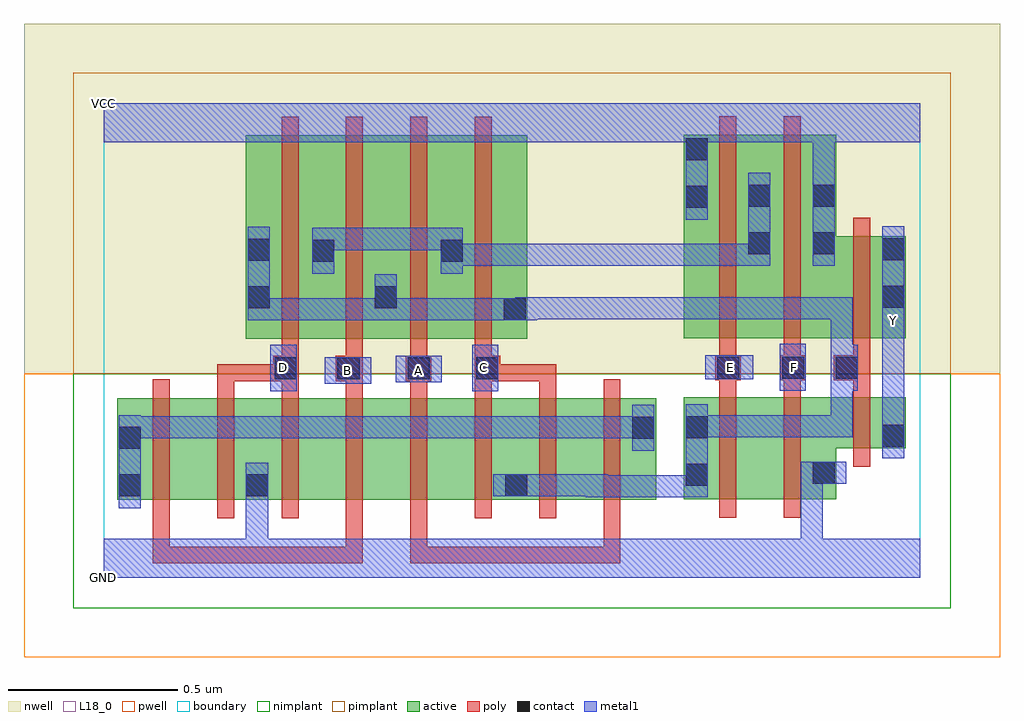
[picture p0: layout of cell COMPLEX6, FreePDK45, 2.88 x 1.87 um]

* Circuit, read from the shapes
.subckt COMPLEX6 A B C D E F GND VCC Y
M1 n1 B n2 VSUBS nfet w=0.3u l=0.05u
M2 GND D n1 VSUBS nfet w=0.3u l=0.05u
M3 n3 D GND VSUBS nfet w=0.3u l=0.05u
M4 n4 B n3 VSUBS nfet w=0.3u l=0.05u
M5 n5 A n4 VSUBS nfet w=0.3u l=0.05u
M6 n6 C n5 VSUBS nfet w=0.3u l=0.05u
M7 n7 C n6 VSUBS nfet w=0.3u l=0.05u
M8 n2 A n7 VSUBS nfet w=0.3u l=0.05u
M9 n8 E n6 VSUBS nfet w=0.3u l=0.05u
M10 GND F n8 VSUBS nfet w=0.3u l=0.05u
M11 Y n6 GND VSUBS nfet w=0.15u l=0.05u
M12 n9 D n6 n10 pfet w=0.6u l=0.05u
M13 n6 B n9 n10 pfet w=0.6u l=0.05u
M14 n9 A n6 n10 pfet w=0.6u l=0.05u
M15 n6 C n9 n10 pfet w=0.6u l=0.05u
M16 n9 E VCC n10 pfet w=0.6u l=0.05u
M17 VCC F n9 n10 pfet w=0.6u l=0.05u
M18 Y n6 VCC n10 pfet w=0.3u l=0.05u
.ends

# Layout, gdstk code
import gdstk
lib = gdstk.Library(unit=1e-6, precision=1e-09)
def R(c, l, rs):  # rectangles x0, y0, x1, y1
    for r in rs: c.add(gdstk.rectangle(r[:2], r[2:], *l))
def A(c, l, x, y, w, h, nx, ny, dx, dy):  # array of equal rectangles
    R(c, l, [(x+i*dx, y+j*dy, x+i*dx+w, y+j*dy+h) for i in range(nx) for j in range(ny)])
active = (1, 0)
pwell = (2, 0)
nwell = (3, 0)
nimplant = (4, 0)
pimplant = (5, 0)
poly = (9, 0)
contact = (10, 0)
metal1 = (11, 0)
L18_0 = (18, 0)
boundary = (235, 0)

complex6 = lib.new_cell('COMPLEX6')
R(complex6, active, [(0.04,0.23,0.265,0.53), (0.265,0.23,0.49,0.53), (0.415,0.23,0.645,0.53), (0.645,0.23,0.835,0.53), (0.835,0.23,1.025,0.53), (1.025,0.23,1.255,0.53), (1.18,0.23,1.405,0.53), (1.405,0.23,1.63,0.53), (0.415,0.232,0.49,0.517), (1.18,0.232,1.255,0.517), (1.712,0.232,1.937,0.532), (1.937,0.232,2.162,0.532), (2.087,0.232,2.162,0.397), (0.04,0.235,0.115,0.53), (1.712,0.235,1.787,0.532), (1.555,0.247,1.63,0.53), (2.087,0.382,2.367,0.532), (2.292,0.382,2.367,0.532), (0.42,0.705,0.685,1.305), (0.42,0.705,0.495,1.2), (0.61,0.705,0.87,1.305), (0.795,0.705,1.065,1.305), (0.99,0.705,1.25,1.305), (1.175,0.705,1.25,1.07), (0.61,0.707,0.685,1.2), (0.795,0.707,0.87,1.07), (0.99,0.707,1.065,1.2), (1.712,0.707,1.787,1.307), (1.712,0.707,1.972,1.307), (1.897,0.707,2.162,1.307), (1.897,0.707,1.972,1.2), (2.087,0.707,2.367,1.007), (2.087,0.707,2.162,1.307), (2.292,0.707,2.367,1.007)])
R(complex6, pwell, [(-0.235,-0.235,2.645,0.602)])
R(complex6, nwell, [(-0.235,0.602,2.645,1.635)])
R(complex6, nimplant, [(-0.09,-0.09,2.5,0.602)])
R(complex6, pimplant, [(-0.09,0.602,2.5,1.49)])
A(complex6, poly, 0.145, 0.175, 0.05, 0.41, 8, 1, 0.19, 0)
A(complex6, poly, 0.335, 0.535, 0.05, 0.095, 6, 1, 0.19, 0)
A(complex6, poly, 0.525, 0.605, 0.05, 0.095, 4, 1, 0.19, 0)
A(complex6, poly, 0.525, 0.65, 0.05, 0.71, 4, 1, 0.19, 0)
R(complex6, poly, [(0.145,0.042,0.195,0.225), (0.145,0.042,0.195,0.092), (0.145,0.042,0.327,0.092), (0.277,0.042,0.327,0.092), (0.277,0.042,0.327,0.092), (0.277,0.042,0.327,0.092), (0.277,0.042,0.602,0.092), (0.552,0.042,0.602,0.092), (0.552,0.042,0.602,0.092), (0.552,0.042,0.602,0.092), (0.552,0.042,0.765,0.092), (0.715,0.042,0.765,0.225), (0.715,0.042,0.765,0.092), (0.715,0.042,0.765,0.092), (0.715,0.042,0.765,0.092), (0.905,0.042,0.955,0.225), (0.905,0.042,0.955,0.092), (0.905,0.042,0.955,0.092), (0.905,0.042,0.955,0.092), (0.905,0.042,1.202,0.092), (1.152,0.042,1.202,0.092), (1.152,0.042,1.202,0.092), (1.152,0.042,1.202,0.092), (1.152,0.042,1.335,0.092), (1.285,0.042,1.525,0.092), (1.285,0.042,1.335,0.092), (1.285,0.042,1.335,0.092), (1.285,0.042,1.335,0.092), (1.475,0.042,1.525,0.225), (1.475,0.042,1.525,0.092), (1.817,0.177,1.867,0.587), (2.007,0.177,2.057,0.587), (2.212,0.327,2.262,0.587), (1.817,0.537,1.867,0.632), (2.007,0.537,2.057,0.632), (2.212,0.537,2.262,0.632), (0.335,0.58,0.385,0.63), (0.335,0.58,0.55,0.63), (0.5,0.58,0.575,0.655), (0.5,0.58,0.55,0.63), (0.5,0.58,0.55,0.63), (0.685,0.58,0.765,0.655), (0.892,0.58,0.967,0.655), (1.095,0.58,1.17,0.655), (1.12,0.58,1.17,0.63), (1.12,0.58,1.17,0.63), (1.12,0.58,1.335,0.63), (1.285,0.58,1.335,0.63), (1.805,0.582,1.88,0.657), (1.997,0.582,2.072,0.657), (2.155,0.582,2.262,0.657), (1.817,0.607,1.867,0.702), (2.007,0.607,2.057,0.702), (2.212,0.607,2.262,0.702), (1.817,0.652,1.867,1.362), (2.007,0.652,2.057,1.362), (2.212,0.652,2.262,1.062)])
R(complex6, contact, [(0.045,0.24,0.11,0.305), (0.42,0.24,0.485,0.305), (1.185,0.24,1.25,0.305), (1.717,0.272,1.782,0.337), (2.092,0.277,2.157,0.342), (0.045,0.38,0.11,0.445), (2.297,0.387,2.362,0.452), (1.56,0.41,1.625,0.475), (1.717,0.412,1.782,0.477), (0.505,0.585,0.57,0.65), (0.69,0.585,0.755,0.65), (0.897,0.585,0.962,0.65), (1.1,0.585,1.165,0.65), (1.81,0.587,1.875,0.652), (2.002,0.587,2.067,0.652), (2.16,0.587,2.225,0.652), (1.18,0.76,1.245,0.825), (0.425,0.795,0.49,0.86), (0.8,0.795,0.865,0.86), (2.297,0.797,2.362,0.862), (0.615,0.932,0.68,0.997), (0.995,0.932,1.06,0.997), (0.425,0.935,0.49,1), (2.297,0.937,2.362,1.002), (1.902,0.955,1.967,1.02), (2.092,0.955,2.157,1.02), (1.717,1.092,1.782,1.157), (1.902,1.095,1.967,1.16), (2.092,1.095,2.157,1.16), (1.717,1.232,1.782,1.297)])
R(complex6, metal1, [(0,0,2.41,0.115), (0.42,0.05,0.485,0.27), (2.057,0.05,2.122,0.115), (2.057,0.05,2.122,0.115), (2.057,0.05,2.122,0.342), (0.045,0.205,0.11,0.48), (0.42,0.205,0.485,0.27), (0.42,0.205,0.485,0.27), (0.42,0.205,0.485,0.34), (1.422,0.237,1.625,0.302), (1.422,0.237,1.487,0.305), (1.56,0.237,1.625,0.302), (1.56,0.237,1.625,0.302), (1.56,0.237,1.625,0.302), (1.56,0.237,1.782,0.302), (1.717,0.237,1.782,0.302), (1.717,0.237,1.782,0.302), (1.717,0.237,1.782,0.512), (1.15,0.24,1.285,0.305), (1.22,0.24,1.285,0.305), (1.22,0.24,1.285,0.305), (1.22,0.24,1.487,0.305), (2.057,0.277,2.192,0.342), (2.297,0.352,2.362,0.487), (1.56,0.375,1.625,0.51), (0.045,0.412,0.11,0.477), (0.045,0.412,0.11,0.477), (0.045,0.412,0.247,0.477), (0.182,0.412,0.247,0.477), (0.182,0.412,0.385,0.477), (0.32,0.412,0.385,0.477), (0.32,0.412,0.385,0.477), (0.32,0.412,0.385,0.477), (0.32,0.412,0.522,0.477), (0.457,0.412,0.522,0.477), (0.457,0.412,0.727,0.477), (0.662,0.412,0.727,0.477), (0.662,0.412,0.727,0.477), (0.662,0.412,0.727,0.477), (0.662,0.412,0.865,0.477), (0.8,0.412,0.865,0.477), (0.8,0.412,0.865,0.477), (0.8,0.412,0.865,0.477), (0.8,0.412,1.002,0.477), (0.937,0.412,1.002,0.477), (0.937,0.412,1.002,0.477), (0.937,0.412,1.002,0.477), (0.937,0.412,1.35,0.477), (1.285,0.412,1.35,0.477), (1.285,0.412,1.35,0.477), (1.285,0.412,1.35,0.477), (1.285,0.412,1.487,0.477), (1.422,0.412,1.487,0.477), (1.422,0.412,1.487,0.477), (1.422,0.412,1.487,0.477), (1.422,0.412,1.625,0.477), (1.717,0.415,1.782,0.48), (1.717,0.415,1.782,0.48), (1.717,0.415,1.92,0.48), (1.855,0.415,1.92,0.48), (1.855,0.415,2.087,0.48), (2.022,0.415,2.087,0.48), (2.022,0.415,2.21,0.48), (2.145,0.415,2.21,0.48), (2.145,0.415,2.21,0.687), (2.297,0.422,2.362,0.757), (0.492,0.55,0.57,0.687), (1.087,0.55,1.165,0.687), (1.995,0.552,2.072,0.69), (2.16,0.552,2.225,0.687), (0.652,0.572,0.79,0.65), (0.862,0.577,0.997,0.655), (1.775,0.585,1.917,0.657), (2.145,0.622,2.21,0.687), (2.145,0.622,2.225,0.687), (2.145,0.622,2.21,0.827), (2.297,0.692,2.362,0.827), (0.425,0.76,0.49,1.035), (0.425,0.76,0.522,0.825), (0.457,0.76,0.522,0.825), (0.457,0.76,0.727,0.825), (0.662,0.76,0.727,0.825), (0.662,0.76,0.727,0.825), (0.662,0.76,0.727,0.825), (0.662,0.76,0.865,0.825), (0.8,0.76,0.865,0.825), (0.8,0.76,0.865,0.825), (0.8,0.76,0.865,0.895), (0.8,0.76,1.002,0.825), (0.937,0.76,1.002,0.825), (0.937,0.76,1.002,0.825), (0.937,0.76,1.002,0.825), (0.937,0.76,1.21,0.825), (1.145,0.76,1.28,0.825), (1.215,0.76,1.28,0.825), (1.215,0.76,1.28,0.827), (1.215,0.762,1.487,0.827), (1.422,0.762,1.487,0.827), (1.422,0.762,1.625,0.827), (1.56,0.762,1.625,0.827), (1.56,0.762,1.625,0.827), (1.56,0.762,1.625,0.827), (1.56,0.762,1.762,0.827), (1.697,0.762,1.762,0.827), (1.697,0.762,1.762,0.827), (1.697,0.762,1.762,0.827), (1.697,0.762,1.985,0.827), (1.92,0.762,1.985,0.827), (1.92,0.762,1.985,0.827), (1.92,0.762,1.985,0.827), (1.92,0.762,2.21,0.827), (2.145,0.762,2.21,0.827), (2.297,0.762,2.362,0.827), (2.297,0.762,2.362,1.037), (0.615,0.897,0.68,1.032), (0.995,0.897,1.06,1.032), (0.995,0.92,1.06,0.985), (0.995,0.92,1.06,0.985), (0.995,0.92,1.197,0.985), (1.132,0.92,1.197,0.985), (1.132,0.92,1.197,0.985), (1.132,0.92,1.197,0.985), (1.132,0.92,1.487,0.985), (1.422,0.92,1.487,0.985), (1.422,0.92,1.625,0.985), (1.56,0.92,1.625,0.985), (1.56,0.92,1.625,0.985), (1.56,0.92,1.625,0.985), (1.56,0.92,1.762,0.985), (1.697,0.92,1.762,0.985), (1.697,0.92,1.762,0.985), (1.697,0.92,1.762,0.985), (1.697,0.92,1.967,0.985), (1.902,0.92,1.967,1.195), (2.092,0.92,2.157,1.195), (0.615,0.967,0.68,1.032), (0.615,0.967,0.68,1.032), (0.615,0.967,0.865,1.032), (0.8,0.967,0.865,1.032), (0.8,0.967,0.865,1.032), (0.8,0.967,0.865,1.032), (0.8,0.967,1.06,1.032), (1.717,1.057,1.782,1.332), (2.092,1.13,2.157,1.35), (1.717,1.267,1.782,1.35), (0,1.285,2.41,1.4)])
R(complex6, L18_0, [(0,0,2.41,0.115), (0.42,0.05,0.485,0.27), (2.057,0.05,2.122,0.115), (2.057,0.05,2.122,0.115), (2.057,0.05,2.122,0.342), (0.42,0.205,0.485,0.27), (0.42,0.205,0.485,0.27), (0.42,0.205,0.485,0.34), (2.057,0.277,2.192,0.342), (2.297,0.352,2.362,0.487), (2.297,0.422,2.362,0.757), (0.492,0.55,0.57,0.687), (1.087,0.55,1.165,0.687), (1.995,0.552,2.072,0.69), (0.652,0.572,0.79,0.65), (0.687,0.577,0.752,0.642), (0.862,0.577,0.997,0.655), (0.897,0.577,0.962,0.642), (1.775,0.585,1.917,0.657), (0.497,0.587,0.562,0.652), (1.087,0.587,1.152,0.652), (1.817,0.587,1.882,0.652), (2.007,0.587,2.072,0.652), (2.297,0.692,2.362,0.827), (2.297,0.727,2.362,0.792), (2.297,0.762,2.362,0.827), (2.297,0.762,2.362,1.037), (2.092,0.92,2.157,1.195), (1.717,1.057,1.782,1.332), (2.092,1.13,2.157,1.35), (1.717,1.267,1.782,1.35), (0,1.285,2.41,1.4)])
R(complex6, boundary, [(0,0,2.41,1.4)])
complex6.add(gdstk.Label('A', (0.93,0.61), layer=11, texttype=0))
complex6.add(gdstk.Label('B', (0.72,0.61), layer=11, texttype=0))
complex6.add(gdstk.Label('C', (1.12,0.62), layer=11, texttype=0))
complex6.add(gdstk.Label('D', (0.53,0.62), layer=11, texttype=0))
complex6.add(gdstk.Label('E', (1.85,0.62), layer=11, texttype=0))
complex6.add(gdstk.Label('F', (2.04,0.62), layer=11, texttype=0))
complex6.add(gdstk.Label('Y', (2.33,0.76), layer=11, texttype=0))
complex6.add(gdstk.Label('VCC', (0,1.4), layer=11, texttype=0))
complex6.add(gdstk.Label('GND', (0,0), layer=11, texttype=0))

lib.write_gds('COMPLEX6.gds')
